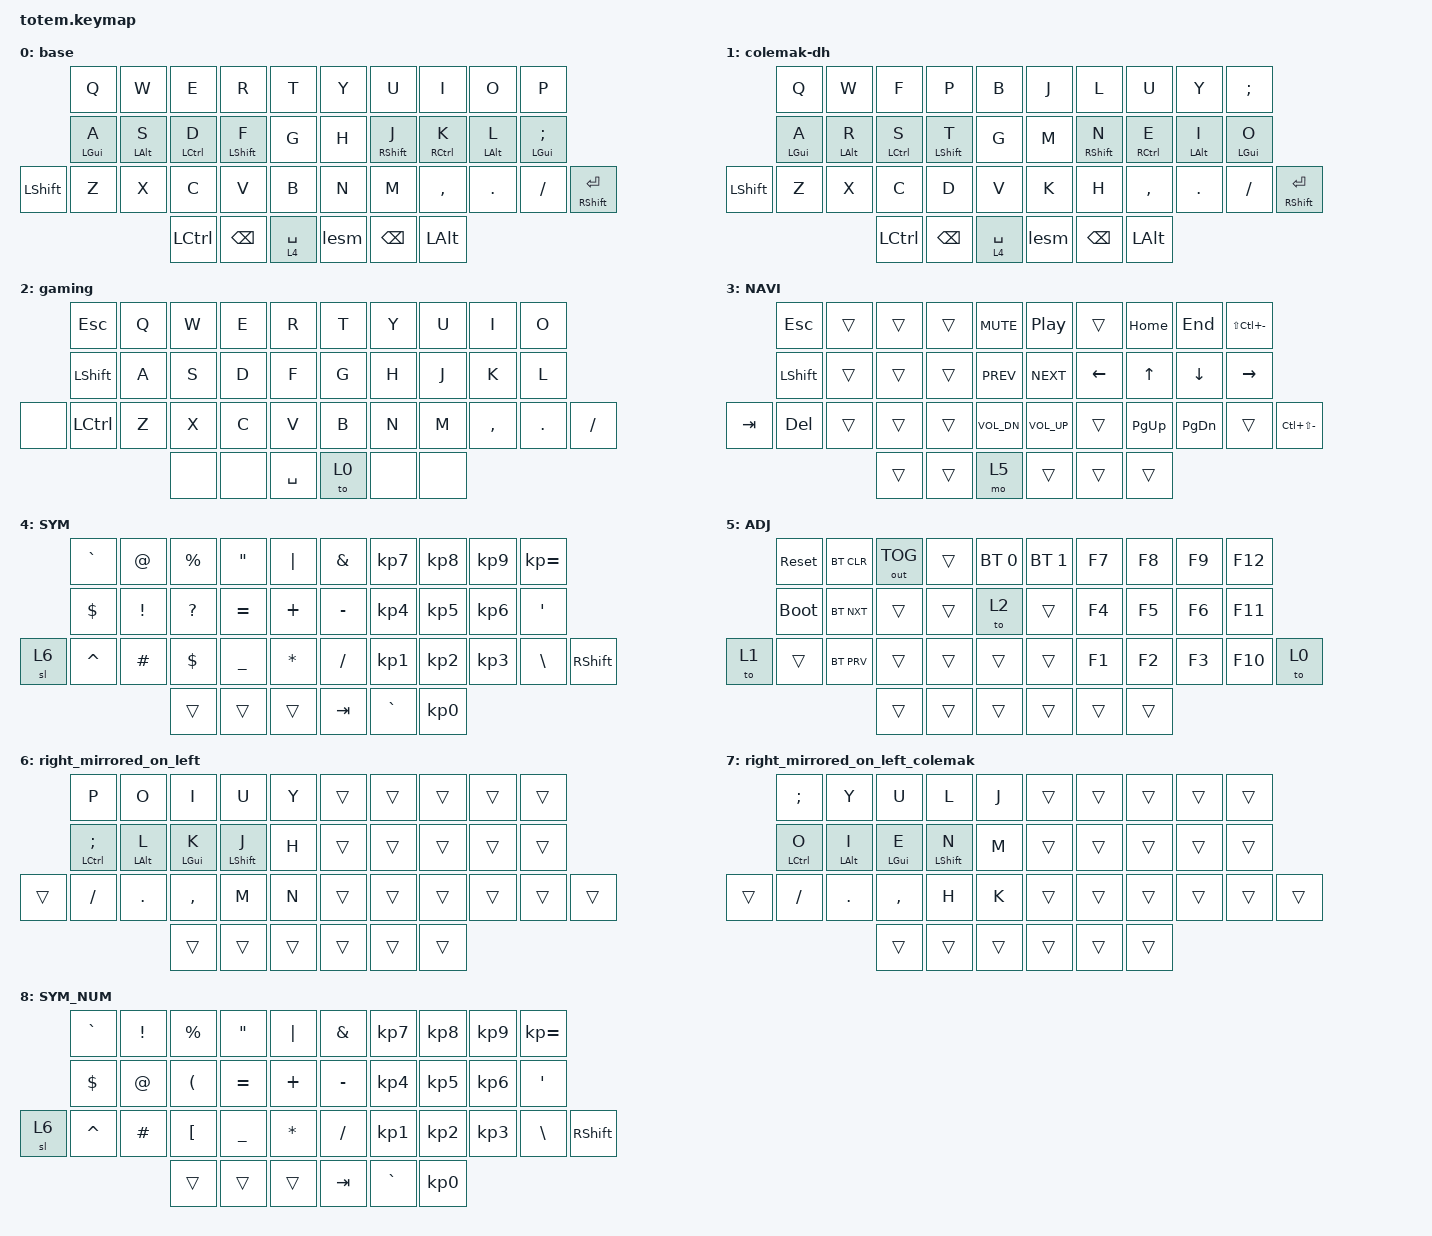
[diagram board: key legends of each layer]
//
//                                                        ▀▀▀▀▀     ▀▀▀▀▀          ▀▀█▀▀
//                                                        ▄▀▀▀▄  ▄  ▄▀▀▀▄  ▄  ▄▀▀▀▄  █  ▄▀▀▀▄
//                                                        █   █  █  █   █  █  █   █  █  █   █
//                                                         ▀▀▀   █   ▀▀▀   █   ▀▀▀   ▀   ▀▀▀
//                                                               █      ▄▄▄█▄▄▄    █   █  
//                                                               ▀      █  █  █     █▄█
//                                                             ▀▀▀▀▀    █  █  █      ▀
//                                                                      ▀  ▀  ▀
//
// ▄▄▄▄▄▄▄▄▄▄▄▄▄▄▄▄▄▄▄▄▄▄▄▄▄▄▄▄▄▄▄▄▄▄▄▄▄▄▄▄▄▄▄▄▄▄▄▄▄▄▄▄▄▄▄▄▄▄▄▄▄▄▄▄▄▄▄▄▄▄▄▄▄▄▄▄▄▄▄▄▄▄▄▄▄▄▄▄▄▄▄▄▄▄▄▄▄▄▄▄▄▄▄▄▄▄▄▄▄▄▄▄▄▄▄▄▄▄▄▄▄▄▄▄▄▄▄▄▄▄▄▄▄▄▄▄▄▄▄▄▄▄▄▄▄▄▄▄▄

#include <behaviors.dtsi>
#include <dt-bindings/zmk/bt.h>
#include <dt-bindings/zmk/keys.h>
#include <dt-bindings/zmk/outputs.h>

#define BASE 0
#define NAV  1
#define SYM  2
#define ADJ  3
#define TVP1 4
#define TVP2 5

&mt {
    quick-tap-ms = <200>;
    global-quick-tap;
    flavor = "hold-preferred";
    tapping-term-ms = <150>;
};

/ {
    combos {
        compatible = "zmk,combos";

        combo_esc {
            timeout-ms = <50>;
            key-positions = <0 1>;
            bindings = <&kp ESC>;
        };

        lbracecombo {
            bindings = <&kp LEFT_BRACE>;
            key-positions = <2 3>;
            timeout-ms = <40>;
            require-prior-idle-ms = <50>;
        };

        lparcombo {
            bindings = <&kp LEFT_PARENTHESIS>;
            key-positions = <12 13>;
            timeout-ms = <40>;
            require-prior-idle-ms = <50>;
        };

        lbracketcombo {
            bindings = <&kp LEFT_BRACKET>;
            key-positions = <23 24>;
            timeout-ms = <40>;
            require-prior-idle-ms = <50>;
        };

        rbracecombo {
            bindings = <&kp RIGHT_BRACE>;
            key-positions = <6 7>;
            timeout-ms = <40>;
            require-prior-idle-ms = <50>;
        };

        rparcombo {
            bindings = <&kp RIGHT_PARENTHESIS>;
            key-positions = <17 16>;
            timeout-ms = <40>;
            require-prior-idle-ms = <50>;
        };

        rbracketcombo {
            bindings = <&kp RIGHT_BRACKET>;
            key-positions = <27 28>;
            timeout-ms = <40>;
            require-prior-idle-ms = <50>;
        };

        oneshot_mirror {
            bindings = <&sl 6>;
            key-positions = <32 33>;
            slow-release;
            layers = <0>;
            timeout-ms = <0>;
        };

        CapsWord {
            bindings = <&caps_word>;
            key-positions = <13 16>;
        };

        Lessthancombo {
            bindings = <&kp LESS_THAN>;
            key-positions = <24 25>;
            require-prior-idle-ms = <50>;
            timeout-ms = <40>;
        };

        greaterthancombo {
            bindings = <&kp GREATER_THAN>;
            key-positions = <26 27>;
            require-prior-idle-ms = <50>;
            timeout-ms = <40>;
        };
    };

    behaviors {
        hm: homerow_mods {
            compatible = "zmk,behavior-hold-tap";
            #binding-cells = <2>;
            tapping-term-ms = <150>;
            quick-tap-ms = <200>;
            flavor = "balanced";
            bindings = <&kp>, <&kp>;

            require-prior-idle-ms = <50>;
        };

        lh_pht: left_positional_hold_tap {
            compatible = "zmk,behavior-hold-tap";
            #binding-cells = <2>;
            flavor = "balanced";
            tapping-term-ms = <280>;                        // <---[[produces tap if held longer than tapping-term-ms]]
            quick-tap-ms = <175>;
            bindings = <&kp>, <&kp>;

            label = "LH_PHT";
            hold-trigger-key-positions = <5 6 7 8 9 9 15 16 18 19 26 27 28 29 30 31 36 37 17 35 36 13 12 11 10>;    // <---[[right-hand keys]]
            require-prior-idle-ms = <100>;
            hold-trigger-on-release;
        };

        rh_pht: right_positional_hold_tap {
            compatible = "zmk,behavior-hold-tap";
            #binding-cells = <2>;
            flavor = "balanced";
            tapping-term-ms = <280>;
            quick-tap-ms = <175>;
            bindings = <&kp>, <&kp>;

            label = "RH_PHT";
            hold-trigger-key-positions = <16 17 18 19 0 1 2 3 4 10 11 12 13 14 20 21 22 23 24 25 32 33 32 33 34>;
            require-prior-idle-ms = <100>;
            hold-trigger-on-release;
        };

        lesm: lt_enter_space_morph {
            compatible = "zmk,behavior-mod-morph";
            label = "LT_ENTER_SPACE_MORPH";
            bindings = <&lt 3 RETURN>, <&lt 3 SPACE>;

            #binding-cells = <0>;
            mods = <(MOD_RCTL)>;
            keep-mods = <(MOD_RCTL)>;
        };

        hm_shift: hm_shift {
            compatible = "zmk,behavior-hold-tap";
            #binding-cells = <2>;
            tapping-term-ms = <150>;
            quick-tap-ms = <200>;
            flavor = "balanced";
            bindings = <&kp>, <&kp>;

            require-prior-idle-ms = <10>;
            label = "homerow_mods_shift";
        };
    };

    macros {
        gif: gif {
            label = "giphy";
            compatible = "zmk,behavior-macro";
            #binding-cells = <0>;
            bindings =
                <&macro_press>,
                <&kp LSHFT>,
                <&macro_tap>,
                <&kp N2>,
                <&macro_release>,
                <&kp LSHFT>,
                <&macro_tap>,
                <&kp G &kp I &kp F>;
        };
    };

    keymap {
        compatible = "zmk,keymap";

        // ▄▄▄▄▄▄▄▄▄▄▄▄▄▄▄▄▄▄▄▄▄▄▄▄▄▄▄▄▄▄▄▄▄▄▄▄▄▄▄▄▄▄▄▄▄▄▄▄▄▄▄▄▄▄▄▄▄▄▄▄▄▄▄▄▄▄▄▄▄▄▄▄▄▄▄▄▄▄▄▄▄▄▄▄▄▄▄▄▄▄▄▄▄▄▄▄▄▄▄▄▄▄▄▄▄▄▄▄▄▄▄▄▄▄▄▄▄▄▄▄▄▄▄▄▄▄▄▄▄▄▄▄▄▄▄▄▄▄▄▄▄▄▄▄▄▄▄▄▄

        base {
            bindings = <
            &kp Q               &kp W               &kp E            &kp R               &kp T          &kp Y  &kp U              &kp I            &kp O               &kp P
            &lh_pht LEFT_GUI A  &lh_pht LEFT_ALT S  &lh_pht LCTRL D  &hm_shift LSHIFT F  &kp G          &kp H  &hm_shift RSHFT J  &rh_pht RCTRL K  &rh_pht LEFT_ALT L  &rh_pht LGUI SEMICOLON
&kp LSHIFT  &kp Z               &kp X               &kp C            &kp V               &kp B          &kp N  &kp M              &kp COMMA        &kp PERIOD          &kp SLASH               &mt RIGHT_SHIFT ENTER
                                                    &kp LCTRL        &kp BACKSPACE       &lt 4 SPACE    &lesm  &kp BACKSPACE      &kp LALT
            >;
        };

        colemak-dh {
            bindings = <
            &kp Q               &kp W               &kp F            &kp P               &kp B          &kp J  &kp L              &kp U            &kp Y               &kp SEMICOLON
            &lh_pht LEFT_GUI A  &lh_pht LEFT_ALT R  &lh_pht LCTRL S  &hm_shift LSHIFT T  &kp G          &kp M  &hm_shift RSHFT N  &rh_pht RCTRL E  &rh_pht LEFT_ALT I  &rh_pht LGUI O
&kp LSHIFT  &kp Z               &kp X               &kp C            &kp D               &kp V          &kp K  &kp H              &kp COMMA        &kp PERIOD          &kp SLASH       &mt RIGHT_SHIFT ENTER
                                                    &kp LCTRL        &kp BACKSPACE       &lt 4 SPACE    &lesm  &kp BACKSPACE      &kp LALT
            >;
        };

        gaming {
            bindings = <
       &kp ESC    &kp Q  &kp W  &kp E  &kp R        &kp T  &kp Y  &kp U  &kp I      &kp O
       &kp LSHFT  &kp A  &kp S  &kp D  &kp F        &kp G  &kp H  &kp J  &kp K      &kp L
&none  &kp LCTRL  &kp Z  &kp X  &kp C  &kp V        &kp B  &kp N  &kp M  &kp COMMA  &kp DOT  &kp FSLH
                         &none  &none  &kp SPACE    &to 0  &none  &none
            >;
        };

        nav_layer {
            // ┏━━━━━━━━━━━━━━━━━━━━━━━━━━━━━━━━━━━━━━━┓

            label = "NAVI";

            // ┗━━━━━━━━━━━━━━━━━━━━━━━━━━━━━━━━━━━━━━━┛
            //             ┏━━━━━━━━━━━┳━━━━━━━━━━━┳━━━━━━━━━━━┳━━━━━━━━━━━┳━━━━━━━━━━━┓   ┏━━━━━━━━━━━┳━━━━━━━━━━━┳━━━━━━━━━━━┳━━━━━━━━━━━┳━━━━━━━━━━━┓
            //             ┃           ┃           ┃     UP    ┃           ┃     {     ┃   ┃     }     ┃     7     ┃     8     ┃     9     ┃     +     ┃
            //             ┣━━━━━━━━━━━╋━━━━━━━━━━━╋━━━━━━━━━━━╋━━━━━━━━━━━╋━━━━━━━━━━━┫   ┣━━━━━━━━━━━╋━━━━━━━━━━━╋━━━━━━━━━━━╋━━━━━━━━━━━╋━━━━━━━━━━━┫
            //             ┃   SHIFT   ┃   LEFT    ┃    DOWN   ┃   RIGHT   ┃     [     ┃   ┃     ]     ┃     4     ┃     5     ┃     6     ┃     -     ┃
            // ┏━━━━━━━━━━━╋━━━━━━━━━━━╋━━━━━━━━━━━╋━━━━━━━━━━━╋━━━━━━━━━━━╋━━━━━━━━━━━┫   ┣━━━━━━━━━━━╋━━━━━━━━━━━╋━━━━━━━━━━━╋━━━━━━━━━━━╋━━━━━━━━━━━╋━━━━━━━━━━━┓
            // ┃           ┃           ┃   P UP    ┃  C LOCK   ┃  P DOWN   ┃     (     ┃   ┃     )     ┃     1     ┃     2     ┃     3     ┃     *     ┃           ┃
            // ┗━━━━━━━━━━━┻━━━━━━━━━━━┻━━━━━━━━━━━╋━━━━━━━━━━━╋━━━━━━━━━━━╋━━━━━━━━━━━┫   ┣━━━━━━━━━━━╋━━━━━━━━━━━╋━━━━━━━━━━━╋━━━━━━━━━━━┻━━━━━━━━━━━┻━━━━━━━━━━━┛
            //                                     ┃           ┃    TAB    ┃    SPC    ┃   ┃    DEL    ┃     0     ┃           ┃
            //                                     ┗━━━━━━━━━━━┻━━━━━━━━━━━┻━━━━━━━━━━━┛   ┗━━━━━━━━━━━┻━━━━━━━━━━━┻━━━━━━━━━━━┛

            bindings = <
         &kp ESC    &trans  &trans  &trans  &kp C_MUTE      &kp C_PP         &trans    &kp HOME      &kp END        &kp LS(LC(MINUS))
         &kp LSHFT  &trans  &trans  &trans  &kp C_PREV      &kp C_NEXT       &kp LEFT  &kp UP_ARROW  &kp DOWN       &kp RIGHT
&kp TAB  &kp DEL    &trans  &trans  &trans  &kp C_VOL_DN    &kp C_VOLUME_UP  &trans    &kp PAGE_UP   &kp PAGE_DOWN  &trans             &kp LC(LS(MINUS))
                            &trans  &trans  &mo 5           &trans           &trans    &trans
            >;
        };

        symbol_layer_numpad {
            // ┏━━━━━━━━━━━━━━━━━━━━━━━━━━━━━━━━━━━━━━━┓

            label = "SYM";

            // ┗━━━━━━━━━━━━━━━━━━━━━━━━━━━━━━━━━━━━━━━┛
            //             ┏━━━━━━━━━━━┳━━━━━━━━━━━┳━━━━━━━━━━━┳━━━━━━━━━━━┳━━━━━━━━━━━┓   ┏━━━━━━━━━━━┳━━━━━━━━━━━┳━━━━━━━━━━━┳━━━━━━━━━━━┳━━━━━━━━━━━┓
            //             ┃     !     ┃     @     ┃     #     ┃     $     ┃     %     ┃   ┃     ˆ     ┃     &     ┃     Ü     ┃     '     ┃     "     ┃
            //             ┣━━━━━━━━━━━╋━━━━━━━━━━━╋━━━━━━━━━━━╋━━━━━━━━━━━╋━━━━━━━━━━━┫   ┣━━━━━━━━━━━╋━━━━━━━━━━━╋━━━━━━━━━━━╋━━━━━━━━━━━╋━━━━━━━━━━━┫
            //             ┃     Ä     ┃           ┃    SZ     ┃           ┃           ┃   ┃   MUTE    ┃   YEN     ┃   EURO    ┃  POUND    ┃     Ö     ┃
            // ┏━━━━━━━━━━━╋━━━━━━━━━━━╋━━━━━━━━━━━╋━━━━━━━━━━━╋━━━━━━━━━━━╋━━━━━━━━━━━┫   ┣━━━━━━━━━━━╋━━━━━━━━━━━╋━━━━━━━━━━━╋━━━━━━━━━━━╋━━━━━━━━━━━╋━━━━━━━━━━━┓
            // ┃           ┃  EMAIL1   ┃  EMAIL2   ┃           ┃           ┃           ┃   ┃   VOL-    ┃   VOL+    ┃   LAST    ┃   NEXT    ┃     \     ┃           ┃
            // ┗━━━━━━━━━━━┻━━━━━━━━━━━┻━━━━━━━━━━━╋━━━━━━━━━━━╋━━━━━━━━━━━╋━━━━━━━━━━━┫   ┣━━━━━━━━━━━╋━━━━━━━━━━━╋━━━━━━━━━━━╋━━━━━━━━━━━┻━━━━━━━━━━━┻━━━━━━━━━━━┛
            //                                     ┃           ┃    GIF    ┃    ADJ    ┃   ┃           ┃           ┃           ┃
            //                                     ┗━━━━━━━━━━━┻━━━━━━━━━━━┻━━━━━━━━━━━┛   ┗━━━━━━━━━━━┻━━━━━━━━━━━┻━━━━━━━━━━━┛

            bindings = <
       &kp GRAVE   &kp AT           &kp PERCENT   &kp DOUBLE_QUOTES  &kp PIPE    &kp AMPERSAND  &kp KP_N7        &kp KP_NUMBER_8  &kp KP_NUMBER_9  &kp KP_EQUAL
       &kp DOLLAR  &kp EXCLAMATION  &kp QUESTION  &kp EQUAL          &kp PLUS    &kp MINUS      &kp KP_NUMBER_4  &kp KP_NUMBER_5  &kp KP_NUMBER_6  &kp SQT
&sl 6  &kp CARET   &kp HASH         &kp DOLLAR    &kp UNDERSCORE     &kp STAR    &kp SLASH      &kp KP_NUMBER_1  &kp KP_NUMBER_2  &kp KP_NUMBER_3  &kp BSLH      &kp RSHIFT
                                    &trans        &trans             &trans      &kp TAB        &kp GRAVE        &kp KP_NUMBER_0
            >;
        };

        adjust_layer {
            // ┏━━━━━━━━━━━━━━━━━━━━━━━━━━━━━━━━━━━━━━━┓

            label = "ADJ";

            // ┗━━━━━━━━━━━━━━━━━━━━━━━━━━━━━━━━━━━━━━━┛
            //             ┏━━━━━━━━━━━┳━━━━━━━━━━━┳━━━━━━━━━━━┳━━━━━━━━━━━┳━━━━━━━━━━━┓   ┏━━━━━━━━━━━┳━━━━━━━━━━━┳━━━━━━━━━━━┳━━━━━━━━━━━┳━━━━━━━━━━━┓
            //             ┃   RESET   ┃ BT CLEAR  ┃  OUT TOG  ┃           ┃           ┃   ┃           ┃    F7     ┃    F8     ┃    F9     ┃    F12    ┃
            //             ┣━━━━━━━━━━━╋━━━━━━━━━━━╋━━━━━━━━━━━╋━━━━━━━━━━━╋━━━━━━━━━━━┫   ┣━━━━━━━━━━━╋━━━━━━━━━━━╋━━━━━━━━━━━╋━━━━━━━━━━━╋━━━━━━━━━━━┫
            //             ┃ BOOTLOAD  ┃ BT NEXT   ┃           ┃           ┃           ┃   ┃           ┃    F4     ┃    F5     ┃    F6     ┃    F11    ┃
            // ┏━━━━━━━━━━━╋━━━━━━━━━━━╋━━━━━━━━━━━╋━━━━━━━━━━━╋━━━━━━━━━━━╋━━━━━━━━━━━┫   ┣━━━━━━━━━━━╋━━━━━━━━━━━╋━━━━━━━━━━━╋━━━━━━━━━━━╋━━━━━━━━━━━╋━━━━━━━━━━━┓
            // ┃           ┃           ┃ BT PREV   ┃           ┃           ┃           ┃   ┃           ┃    F1     ┃    F2     ┃    F3     ┃    F10    ┃           ┃
            // ┗━━━━━━━━━━━┻━━━━━━━━━━━┻━━━━━━━━━━━╋━━━━━━━━━━━╋━━━━━━━━━━━╋━━━━━━━━━━━┫   ┣━━━━━━━━━━━╋━━━━━━━━━━━╋━━━━━━━━━━━╋━━━━━━━━━━━┻━━━━━━━━━━━┻━━━━━━━━━━━┛
            //                                     ┃           ┃           ┃           ┃   ┃           ┃           ┃           ┃
            //                                     ┗━━━━━━━━━━━┻━━━━━━━━━━━┻━━━━━━━━━━━┛   ┗━━━━━━━━━━━┻━━━━━━━━━━━┻━━━━━━━━━━━┛

            bindings = <
       &sys_reset   &bt BT_CLR  &out OUT_TOG  &trans  &bt BT_SEL 0    &bt BT_SEL 1  &kp F7  &kp F8  &kp F9  &kp F12
       &bootloader  &bt BT_NXT  &trans        &trans  &to 2           &trans        &kp F4  &kp F5  &kp F6  &kp F11
&to 1  &trans       &bt BT_PRV  &trans        &trans  &trans          &trans        &kp F1  &kp F2  &kp F3  &kp F10  &to 0
                                &trans        &trans  &trans          &trans        &trans  &trans
            >;
        };

        right_mirrored_on_left {
            bindings = <
        &kp P                &kp O           &kp I       &kp U        &kp Y     &trans  &trans  &trans  &trans  &trans
        &hm LCTRL SEMICOLON  &hm LEFT_ALT L  &hm LGUI K  &hm LSHFT J  &kp H     &trans  &trans  &trans  &trans  &trans
&trans  &kp FSLH             &kp DOT         &kp COMMA   &kp M        &kp N     &trans  &trans  &trans  &trans  &trans  &trans
                                             &trans      &trans       &trans    &trans  &trans  &trans
            >;
        };

        right_mirrored_on_left_colemak {
            bindings = <
        &kp SEMICOLON  &kp Y           &kp U       &kp L        &kp J     &trans  &trans  &trans  &trans  &trans
        &hm LCTRL O    &hm LEFT_ALT I  &hm LGUI E  &hm LSHFT N  &kp M     &trans  &trans  &trans  &trans  &trans
&trans  &kp FSLH       &kp DOT         &kp COMMA   &kp H        &kp K     &trans  &trans  &trans  &trans  &trans  &trans
                                       &trans      &trans       &trans    &trans  &trans  &trans
            >;
        };

        symbol_layer_numbers {
            label = "SYM_NUM";
            bindings = <
       &kp GRAVE   &kp EXCLAMATION  &kp PERCENT           &kp DOUBLE_QUOTES  &kp PIPE    &kp AMPERSAND  &kp KP_N7        &kp KP_NUMBER_8  &kp KP_NUMBER_9  &kp KP_EQUAL
       &kp DOLLAR  &kp AT_SIGN      &kp LEFT_PARENTHESIS  &kp EQUAL          &kp PLUS    &kp MINUS      &kp KP_NUMBER_4  &kp KP_NUMBER_5  &kp KP_NUMBER_6  &kp SQT
&sl 6  &kp CARET   &kp HASH         &kp LEFT_BRACKET      &kp UNDERSCORE     &kp STAR    &kp SLASH      &kp KP_NUMBER_1  &kp KP_NUMBER_2  &kp KP_NUMBER_3  &kp BSLH      &kp RSHIFT
                                    &trans                &trans             &trans      &kp TAB        &kp GRAVE        &kp KP_NUMBER_0
            >;
        };

        // ▄▄▄▄▄▄▄▄▄▄▄▄▄▄▄▄▄▄▄▄▄▄▄▄▄▄▄▄▄▄▄▄▄▄▄▄▄▄▄▄▄▄▄▄▄▄▄▄▄▄▄▄▄▄▄▄▄▄▄▄▄▄▄▄▄▄▄▄▄▄▄▄▄▄▄▄▄▄▄▄▄▄▄▄▄▄▄▄▄▄▄▄▄▄▄▄▄▄▄▄▄▄▄▄▄▄▄▄▄▄▄▄▄▄▄▄▄▄▄▄▄▄▄▄▄▄▄▄▄▄▄▄▄▄▄▄▄▄▄▄▄▄▄▄▄▄▄▄▄
        // ▄▄▄▄▄▄▄▄▄▄▄▄▄▄▄▄▄▄▄▄▄▄▄▄▄▄▄▄▄▄▄▄▄▄▄▄▄▄▄▄▄▄▄▄▄▄▄▄▄▄▄▄▄▄▄▄▄▄▄▄▄▄▄▄▄▄▄▄▄▄▄▄▄▄▄▄▄▄▄▄▄▄▄▄▄▄▄▄▄▄▄▄▄▄▄▄▄▄▄▄▄▄▄▄▄▄▄▄▄▄▄▄▄▄▄▄▄▄▄▄▄▄▄▄▄▄▄▄▄▄▄▄▄▄▄▄▄▄▄▄▄▄▄▄▄▄▄▄▄
    };
};
